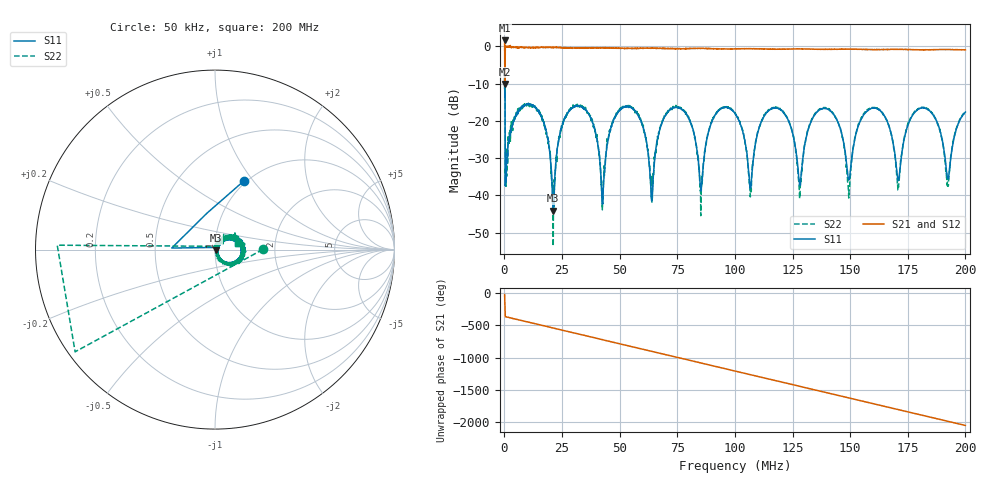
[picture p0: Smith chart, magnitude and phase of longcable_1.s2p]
! 26-Feb-26 11:12:37 AM
! E:\VNA_MEASUREMENTS\LONGCABLE\LONGCABLE_1.S2P
! CHANNEL.1
! TR.MEASUREMENT
! CORRECTED.DATA
# GHZ S RI R 50.0
! FREQ.GHZ  S11RE  S11IM  S21RE  S21IM  S12RE  S12IM  S22RE  S22IM
!; PortSelection: Port_12
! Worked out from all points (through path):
!   2000 points, 50 kHz to 200 MHz, reference 50 ohm
!   highest |S21| = 1.60 dB at 50 kHz (marker M1); lowest = -10.1 dB at 250 kHz (marker M2)
!   lowest |S11| = -44.1 dB at 21.06 MHz (marker M3), VSWR 1.01, Z = 50.5 - j0.381 ohm
!   |S11| at or under -10 dB: 88.68 kHz to end of sweep
!   |S22| runs from -53.7 to -0.3 dB; largest |S21 - S12| = 1.2
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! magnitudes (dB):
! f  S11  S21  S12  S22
! 50 kHz  -7.7  1.6  -3.0  -11.5
! 250 kHz  -12.4  -10.1  -1.7  -1.1
! 14.15 MHz  -16.9  -0.3  -0.2  -17.0
! 21.06 MHz  -44.1  -0.3  -0.3  -39.5
! 33.46 MHz  -16.2  -0.4  -0.4  -15.9
! 42.46 MHz  -42.3  -0.4  -0.4  -43.9
! 50.46 MHz  -16.8  -0.6  -0.5  -16.9
! 63.87 MHz  -41.5  -0.5  -0.4  -39.5
! 66.77 MHz  -24.0  -0.5  -0.5  -23.7
! 77.77 MHz  -17.4  -0.6  -0.6  -17.1
! 85.27 MHz  -38.8  -0.6  -0.6  -41.9
! 100.1 MHz  -18.0  -0.6  -0.7  -17.8
! 106.7 MHz  -38.2  -0.6  -0.6  -40.4
! 114.4 MHz  -17.3  -0.7  -0.7  -17.1
! 128.1 MHz  -37.1  -0.6  -0.7  -40.9
! 133.4 MHz  -19.8  -0.7  -0.7  -19.7
! 149.3 MHz  -35.8  -0.7  -0.7  -38.8
! 166.7 MHz  -21.1  -0.8  -0.8  -21.2
! 170.8 MHz  -35.6  -0.8  -0.8  -38.5
! 184.2 MHz  -17.1  -0.9  -1.0  -17.1
! 192.3 MHz  -35.5  -0.8  -0.8  -37.6
! 200 MHz  -17.6  -0.9  -1.0  -17.6
